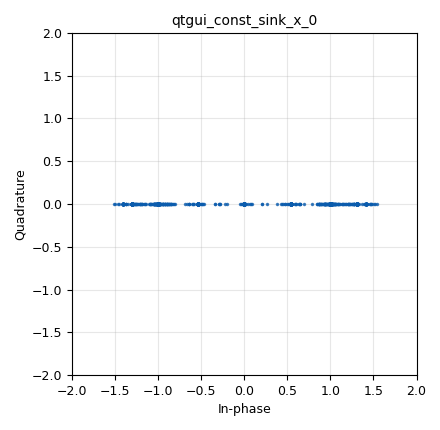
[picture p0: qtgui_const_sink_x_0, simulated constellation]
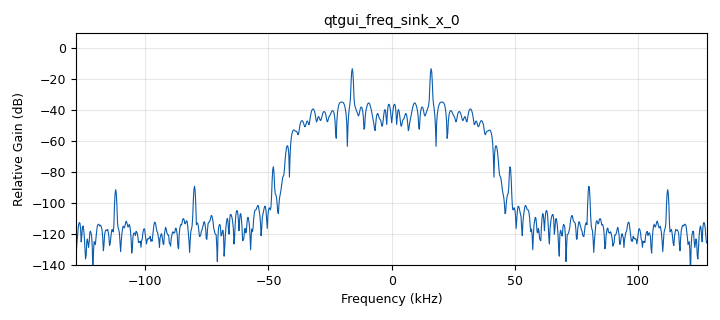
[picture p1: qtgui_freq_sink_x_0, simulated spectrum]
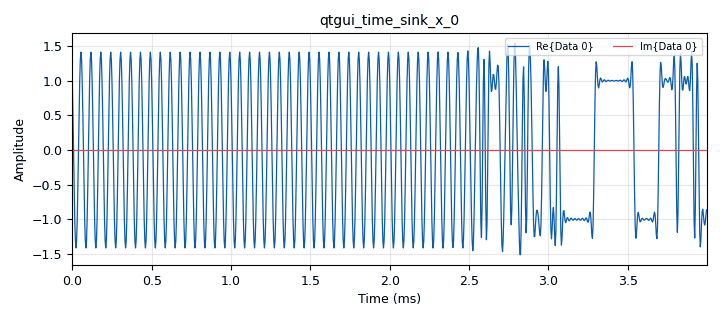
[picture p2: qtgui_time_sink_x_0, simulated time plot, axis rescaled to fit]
options:
  parameters:
    author: Esteban Perez
    generate_options: qt_gui
    id: SUPR_XT_BPSK
    output_language: python
    title: SURP_TX_BPSK
  states: {}

blocks:
- name: BPSK
  id: variable_constellation
  parameters:
    precision: '8'
    type: bpsk
  states: {}
- name: excess_bw
  id: variable
  parameters:
    value: '.350'
  states: {}
- name: freq_offset
  id: variable_qtgui_range
  parameters:
    label: 'Channel: Frequency Offset'
    start: '-0.1'
    step: '.001'
    stop: '0.1'
    value: '.001'
  states: {}
- name: nfilts
  id: variable
  parameters:
    value: '32'
  states: {}
- name: noise_volt
  id: variable_qtgui_range
  parameters:
    label: 'Channel: Noise Voltage'
    start: '0'
    step: '.01'
    stop: '1'
    value: '.010'
  states: {}
- name: phase_bw
  id: variable
  parameters:
    value: '62.8e-3'
  states: {}
- name: rrc_taps
  id: variable
  parameters:
    value: firdes.root_raised_cosine(nfilts, nfilts, 1.0/float(sps), 0.35, 11*sps*nfilts)
  states: {}
- name: samp_rate
  id: variable
  parameters:
    value: 256e3
  states: {}
- name: sps
  id: variable
  parameters:
    value: '4'
  states: {}
- name: time_offset
  id: variable_qtgui_range
  parameters:
    label: 'Channel: Timing Offset'
    start: '.999'
    step: '.0001'
    stop: '1.001'
    value: '1.0001'
  states: {}
- name: variable_0
  id: variable
  parameters:
    value: '0'
  states: {}
- name: variable_adaptive_algorithm_0
  id: variable_adaptive_algorithm
  parameters:
    cons: BPSK
    modulus: '2'
    step_size: '.0001'
    type: cma
  states: {}
- name: blocks_message_strobe_0
  id: blocks_message_strobe
  parameters:
    msg: pmt.cons(pmt.PMT_NIL,pmt.init_u8vector(4,(1,3,7,15)))
    period: '50'
  states: {}
- name: digital_constellation_modulator_0
  id: digital_constellation_modulator
  parameters:
    constellation: BPSK
    differential: 'True'
    excess_bw: excess_bw
    samples_per_symbol: sps
  states: {}
- name: epy_block_0
  id: epy_block
  parameters:
    _source_code: |
      """
      Embedded Python Block
      """

      import numpy as np
      from gnuradio import gr
      import pmt

      class blk(gr.sync_block):
          """Packet Format"""

          def __init__(self):
              gr.sync_block.__init__(self,
                  name = "Packet Format",
                  in_sig = None,
                  out_sig = None)
              self.message_port_register_in(pmt.intern('PDU_in'))
              self.message_port_register_out(pmt.intern('PDU_out'))
              self.set_msg_handler(pmt.intern('PDU_in'), self.handle_msg)

          def handle_msg(self, msg):
              inMsg = pmt.to_python (msg)
              pld = inMsg[1]
              # print (pld)
              mLen = len(pld)
              # print (mLen)
              if (mLen > 0):
                  char_list = [85,85,85,85,85,85,85,85,85,85,85,85,85,85,85,85,85,85,85,85,85,85,85,85,85,85,85,85,85,85,85,85,225,90,232,147]
                  char_list.append (mLen >> 8)
                  char_list.append (mLen & 255)
                  char_list.append (mLen >> 8)
                  char_list.append (mLen & 255)
                  char_list.extend (pld)
                  # print (char_list)
                  out_len = len(char_list)
                  # print (out_len)
                  self.message_port_pub(pmt.intern('PDU_out'), pmt.cons(pmt.PMT_NIL,pmt.init_u8vector(out_len,(char_list))))
  states: {}
- name: limesdr_sink_0
  id: limesdr_sink
  parameters:
    allow_tcxo_dac: '0'
    channel_mode: '0'
    oversample: '0'
    rf_freq: 433e6
    samp_rate: samp_rate
  states: {state: disabled}
- name: pdu_pdu_to_tagged_stream_0
  id: pdu_pdu_to_tagged_stream
  parameters:
    tag: packet_len
    type: byte
  states: {}
- name: qtgui_const_sink_x_0
  id: qtgui_const_sink_x
  parameters:
    size: '1024'
    type: complex
  states: {}
- name: qtgui_freq_sink_x_0
  id: qtgui_freq_sink_x
  parameters:
    bw: samp_rate
    fc: '0'
    fftsize: '1024'
    type: complex
  states: {}
- name: qtgui_time_sink_x_0
  id: qtgui_time_sink_x
  parameters:
    size: '1024'
    srate: samp_rate
    type: complex
  states: {}
- name: soapy_limesdr_sink_0
  id: soapy_limesdr_sink
  parameters:
    bandwidth: 5e6
    center_freq: 430e6
    gain: '30'
    samp_rate: samp_rate
    type: fc32
  states: {}

connections:
- [blocks_message_strobe_0, strobe, epy_block_0, PDU_in]
- [digital_constellation_modulator_0, '0', limesdr_sink_0, '0']
- [digital_constellation_modulator_0, '0', qtgui_const_sink_x_0, '0']
- [digital_constellation_modulator_0, '0', qtgui_freq_sink_x_0, '0']
- [digital_constellation_modulator_0, '0', qtgui_time_sink_x_0, '0']
- [digital_constellation_modulator_0, '0', soapy_limesdr_sink_0, '0']
- [epy_block_0, PDU_out, pdu_pdu_to_tagged_stream_0, pdus]
- [pdu_pdu_to_tagged_stream_0, '0', digital_constellation_modulator_0, '0']

metadata:
  file_format: 1
  grc_version: 3.10.10.0
